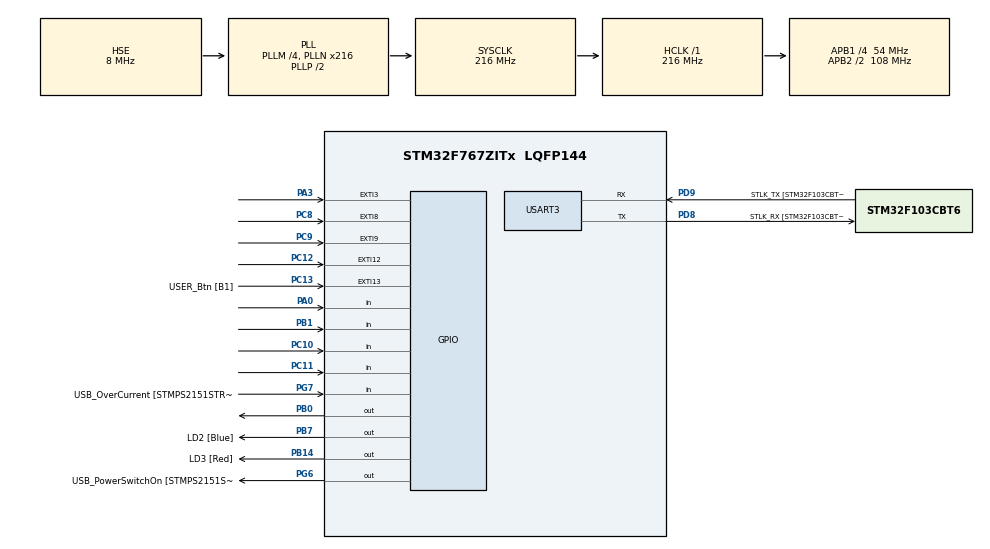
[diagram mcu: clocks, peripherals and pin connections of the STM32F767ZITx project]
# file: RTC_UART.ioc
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Mcu.Family=STM32F7
Mcu.Name=STM32F767ZITx
Mcu.Package=LQFP144
NVIC.EXTI15_10_IRQn=true\:3\:0\:true\:false\:true\:true\:true
NVIC.EXTI3_IRQn=true\:2\:0\:true\:false\:true\:true\:true
NVIC.EXTI9_5_IRQn=true\:2\:1\:true\:false\:true\:true\:true
NVIC.PriorityGroup=NVIC_PRIORITYGROUP_3
NVIC.RTC_Alarm_IRQn=true\:0\:0\:true\:false\:true\:true\:true
PA0/WKUP.Signal=GPIO_Input
PA1.GPIO_Label=RMII_REF_CLK [LAN8742A-CZ-TR_REFCLK0]
PA1.Signal=ETH_REF_CLK
PA10.GPIO_Label=USB_ID
PA10.Signal=USB_OTG_FS_ID
PA11.GPIO_Label=USB_DM
PA11.Signal=USB_OTG_FS_DM
PA12.GPIO_Label=USB_DP
PA12.Signal=USB_OTG_FS_DP
PA13.GPIO_Label=TMS
PA13.Signal=SYS_JTMS-SWDIO
PA14.GPIO_Label=TCK
PA14.Signal=SYS_JTCK-SWCLK
PA2.GPIO_Label=RMII_MDIO [LAN8742A-CZ-TR_MDIO]
PA2.Signal=ETH_MDIO
PA3.Signal=GPXTI3
PA7.GPIO_Label=RMII_CRS_DV [LAN8742A-CZ-TR_CRS_DV]
PA7.Signal=ETH_CRS_DV
PA8.GPIO_Label=USB_SOF [TP1]
PA8.Signal=USB_OTG_FS_SOF
PA9.GPIO_Label=USB_VBUS
PA9.Signal=USB_OTG_FS_VBUS
PB0.Signal=GPIO_Output
PB1.Signal=GPIO_Input
PB13.GPIO_Label=RMII_TXD1 [LAN8742A-CZ-TR_TXD1]
PB13.Signal=ETH_TXD1
PB14.GPIO_Label=LD3 [Red]
PB14.Signal=GPIO_Output
PB3.GPIO_Label=SW0
PB3.Signal=SYS_JTDO-SWO
PB7.GPIO_Label=LD2 [Blue]
PB7.Signal=GPIO_Output
PC1.GPIO_Label=RMII_MDC [LAN8742A-CZ-TR_MDC]
PC1.Signal=ETH_MDC
PC10.Signal=GPIO_Input
PC11.Signal=GPIO_Input
PC12.Signal=GPXTI12
PC13.GPIO_Label=USER_Btn [B1]
PC13.Signal=GPXTI13
PC14/OSC32_IN.Mode=LSE-External-Oscillator
PC14/OSC32_IN.Signal=RCC_OSC32_IN
PC15/OSC32_OUT.Mode=LSE-External-Oscillator
PC15/OSC32_OUT.Signal=RCC_OSC32_OUT
PC4.GPIO_Label=RMII_RXD0 [LAN8742A-CZ-TR_RXD0]
PC4.Signal=ETH_RXD0
PC5.GPIO_Label=RMII_RXD1 [LAN8742A-CZ-TR_RXD1]
PC5.Signal=ETH_RXD1
PC8.Signal=GPXTI8
PC9.Signal=GPXTI9
PD8.GPIO_Label=STLK_RX [STM32F103CBT6_PA3]
PD8.Mode=Asynchronous
PD8.Signal=USART3_TX
PD9.GPIO_Label=STLK_TX [STM32F103CBT6_PA2]
PD9.Mode=Asynchronous
PD9.Signal=USART3_RX
PG11.GPIO_Label=RMII_TX_EN [LAN8742A-CZ-TR_TXEN]
PG11.Signal=ETH_TX_EN
PG13.GPIO_Label=RMII_TXD0 [LAN8742A-CZ-TR_TXD0]
PG13.Signal=ETH_TXD0
PG6.GPIO_Label=USB_PowerSwitchOn [STMPS2151STR_EN]
PG6.Signal=GPIO_Output
PG7.GPIO_Label=USB_OverCurrent [STMPS2151STR_FAULT]
PG7.Signal=GPIO_Input
PH0/OSC_IN.GPIO_Label=MCO [STM32F103CBT6_PA8]
PH0/OSC_IN.Mode=HSE-External-Clock-Source
PH0/OSC_IN.Signal=RCC_OSC_IN
PH1/OSC_OUT.Mode=HSE-External-Clock-Source
PH1/OSC_OUT.Signal=RCC_OSC_OUT
ProjectManager.HeapSize=0x200
ProjectManager.StackSize=0x400
ProjectManager.TargetToolchain=MDK-ARM V5
RCC.48MHZClocksFreq_Value=24000000
RCC.AHBFreq_Value=216000000
RCC.APB1CLKDivider=RCC_HCLK_DIV4
RCC.APB1Freq_Value=54000000
RCC.APB1TimFreq_Value=108000000
RCC.APB2CLKDivider=RCC_HCLK_DIV2
RCC.APB2Freq_Value=108000000
RCC.APB2TimFreq_Value=216000000
RCC.CortexFreq_Value=216000000
RCC.HCLKFreq_Value=216000000
RCC.HSE_VALUE=8000000
RCC.HSI_VALUE=16000000
RCC.PLLM=4
RCC.PLLMUL=RCC_PLL_MUL9
RCC.PLLN=216
RCC.PLLSourceVirtual=RCC_PLLSOURCE_HSE
RCC.PRESCALERUSB=RCC_USBCLKSOURCE_PLL_DIV1_5
RCC.PWREXT_OverDrive=PWREXT_OverDrive_ACTIVATED
RCC.PWR_Regulator_Voltage_Scale=PWR_REGULATOR_VOLTAGE_SCALE1
RCC.RTCClockSelection=RCC_RTCCLKSOURCE_LSE
RCC.SYSCLKFreq_VALUE=216000000
RCC.SYSCLKSource=RCC_SYSCLKSOURCE_PLLCLK
RCC.SYSCLKSourceVirtual=RCC_SYSCLKSOURCE_PLLCLK
RCC.USBFreq_Value=216000000
RCC.VCOOutputFreq_Value=432000000
RTC.Alarm-Alarm\ A=RTC_ALARM_A
RTC.Hours_A-Alarm\ A=10
RTC.Minutes_A-Alarm\ A=21
RTC.Month=RTC_MONTH_AUGUST
RTC.Seconds_A-Alarm\ A=30
RTC.WeekDay=RTC_WEEKDAY_THURSDAY
USART3.VirtualMode-Asynchronous=VM_ASYNC
VP_RTC_VS_RTC_Activate.Mode=RTC_Enabled
VP_RTC_VS_RTC_Alarm_A_Intern.Mode=Alarm A
VP_RTC_VS_RTC_Calendar.Mode=RTC_Calendar
board=NUCLEO-F767ZI

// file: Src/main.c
/* USER CODE BEGIN Header */
/**
  ******************************************************************************
  * @file           : main.c
  * @brief          : Main program body
  ******************************************************************************
  * @attention
  *
  * <h2><center>&copy; Copyright (c) 2019 STMicroelectronics.
  * All rights reserved.</center></h2>
  *
  * This software component is licensed by ST under BSD 3-Clause license,
  * the "License"; You may not use this file except in compliance with the
  * License. You may obtain a copy of the License at:
  *                        opensource.org/licenses/BSD-3-Clause
  *
  ******************************************************************************
  */
/* USER CODE END Header */

#include "main.h"
#include "rtc.h"
#include "usart.h"
#include "gpio.h"

/* USER CODE BEGIN Includes */
#include "string.h"
/* USER CODE END Includes */

/* USER CODE BEGIN PD */
extern RTC_HandleTypeDef hrtc;
/* USER CODE END PD */

/* USER CODE BEGIN PV */
char timebuff[15];
char datebuff[15];
char timerbuff[15];
char alarmbuff[15];

uint8_t alarm = 0;
int set = 0; // in clock
int mode = 0; // change mode
int set_timer = 0;
uint16_t setHours = 0x10;
uint16_t setMinutes = 0x20;
uint16_t setDate = 0x22;
uint16_t setMonth = RTC_MONTH_NOVEMBER;
uint16_t setYear = 0x19;
uint16_t set_alarm_Hours = 0x10;
uint16_t set_alarm_minute = 0x22;
uint8_t timer_count = 0;
uint8_t timer_minute = 0;
uint8_t timer_second = 0;
uint8_t timerdown_minute = 0;
uint8_t timerdown_second = 0;
uint8_t backup_timer_minute;
uint8_t backup_timer_second ;
/* USER CODE END PV */

void SystemClock_Config(void);
/* USER CODE BEGIN PFP */
void get_timer();
/* USER CODE END PFP */

/* USER CODE BEGIN 0 */

void set_time (void){

	RTC_TimeTypeDef sTime;
  RTC_DateTypeDef sDate;

//	setHours = 0x10;
//	setMinutes = 0x20;
//	setDate = 0x22;
//	setMonth = RTC_MONTH_NOVEMBER;
//	setYear = 0x19;
	if(mode == 1 && set == 1) {
		if(HAL_GPIO_ReadPin(GPIOC, GPIO_PIN_10) == 1) {
			setHours += 0x1;
			HAL_Delay(500);
		}
		else if(HAL_GPIO_ReadPin(GPIOC, GPIO_PIN_11) == 1) {
			setHours -= 0x1;
			HAL_Delay(500);
		}
		if(setHours > 0x23){
			setHours = 0x0;
		}
		if(setHours < 0x0) {
			setHours = 0x23;
		}
	}
	else if(mode == 1 && set == 2) {
		if(HAL_GPIO_ReadPin(GPIOC, GPIO_PIN_10) == 1) {
			setMinutes += 0x1;
			HAL_Delay(500);
		}
		else if(HAL_GPIO_ReadPin(GPIOC, GPIO_PIN_11) == 1) {
			setMinutes -= 0x1;
			HAL_Delay(500);
		}
		if(setMinutes > 0x60){
			setMinutes = 0x0;
		}
		if(setMinutes < 0x0){
			setMinutes = 0x59;
		}
	}
	if(mode == 2 && set == 1) {
		if(HAL_GPIO_ReadPin(GPIOC, GPIO_PIN_10) == 1) {
			setDate += 0x1;
			HAL_Delay(500);
		}
		else if(HAL_GPIO_ReadPin(GPIOC, GPIO_PIN_11) == 1) {
			setDate -= 0x1;
			HAL_Delay(500);
		}
		if(setDate > 0x30){
			setDate = 0x1;
			HAL_Delay(500);
		}
		if(setDate < 0x1){
			setDate = 0x30;
			HAL_Delay(500);
		}
	}
	else if(mode == 2 && set == 2) {
		if(HAL_GPIO_ReadPin(GPIOC, GPIO_PIN_10) == 1) {
				setMonth += 0x1;
				HAL_Delay(500);
			}
			else if(HAL_GPIO_ReadPin(GPIOC, GPIO_PIN_11) == 1) {
				setMonth -= 0x1;
				HAL_Delay(500);
			}
			if(setMonth > 0x12){
				setMonth = 0x1;
			}
			if(setMonth < 0x1){
				setMonth = 0x12;
			}
	}
	else if(mode == 2 && set == 3){
		if(HAL_GPIO_ReadPin(GPIOC, GPIO_PIN_10) == 1) {
			setYear += 0x1;
		}
		else if(HAL_GPIO_ReadPin(GPIOC, GPIO_PIN_11) == 1) {
			setYear -= 0x1;
		}
	}

	sTime.Hours = setHours ;
  sTime.Minutes = setMinutes;
  sTime.Seconds = 0x30;
  sTime.DayLightSaving = RTC_DAYLIGHTSAVING_NONE;
  sTime.StoreOperation = RTC_STOREOPERATION_RESET;
  if (HAL_RTC_SetTime(&hrtc, &sTime, RTC_FORMAT_BCD) != HAL_OK)
  {
    Error_Handler();
  }
  /* USER CODE BEGIN RTC_Init 3 */

  /* USER CODE END RTC_Init 3 */

  sDate.WeekDay = RTC_WEEKDAY_FRIDAY;
	sDate.Month = setMonth ;
  sDate.Date = setDate;
  sDate.Year = setYear;

  if (HAL_RTC_SetDate(&hrtc, &sDate, RTC_FORMAT_BCD) != HAL_OK)
  {
    Error_Handler();
  }

	 /* USER CODE BEGIN RTC_Init 4 */
	HAL_RTCEx_BKUPWrite(&hrtc, RTC_BKP_DR1, 0x32F2); // backup register
  /* USER CODE END RTC_Init 4 */
}

void set_alarm (void)
{
	RTC_AlarmTypeDef sAlarm;

	if(set == 1) {
		if(HAL_GPIO_ReadPin(GPIOC, GPIO_PIN_10) == 1) {
			set_alarm_Hours += 0x1;
			HAL_Delay(500);
		}
		else if(HAL_GPIO_ReadPin(GPIOC, GPIO_PIN_11) == 1) {
			set_alarm_Hours -= 0x1;
			HAL_Delay(500);
		}
		if(set_alarm_Hours > 0x23){
			set_alarm_Hours = 0x0;
		}
		if(set_alarm_Hours < 0x0) {
			set_alarm_Hours = 0x23;
		}
	}
	else if(set == 2) {
		if(HAL_GPIO_ReadPin(GPIOC, GPIO_PIN_10) == 1) {
			set_alarm_minute += 0x1;
			HAL_Delay(500);
		}
		else if(HAL_GPIO_ReadPin(GPIOC, GPIO_PIN_11) == 1) {
			set_alarm_minute -= 0x1;
			HAL_Delay(500);
		}
		if(set_alarm_minute > 0x59){
			set_alarm_minute = 0x0;
		}
		if(set_alarm_minute < 0x0){
			set_alarm_minute = 0x59;
		}
	}

	sAlarm.AlarmTime.Hours = set_alarm_Hours;
  sAlarm.AlarmTime.Minutes = set_alarm_minute;
  sAlarm.AlarmTime.Seconds = 0x00;
  sAlarm.AlarmTime.SubSeconds = 0x0;
  sAlarm.AlarmTime.DayLightSaving = RTC_DAYLIGHTSAVING_NONE;
  sAlarm.AlarmTime.StoreOperation = RTC_STOREOPERATION_RESET;
  sAlarm.AlarmMask = RTC_ALARMMASK_NONE;
  sAlarm.AlarmSubSecondMask = RTC_ALARMSUBSECONDMASK_ALL;
  sAlarm.AlarmDateWeekDaySel = RTC_ALARMDATEWEEKDAYSEL_DATE;
  sAlarm.AlarmDateWeekDay = setDate;
  sAlarm.Alarm = RTC_ALARM_A;
  if (HAL_RTC_SetAlarm_IT(&hrtc, &sAlarm, RTC_FORMAT_BCD) != HAL_OK)
  {
    Error_Handler();
  }

  /* USER CODE BEGIN RTC_Init 5 */

  /* USER CODE END RTC_Init 5 */
}

void timer_up (void) {
	if(timer_count % 1000){
		timer_second += 1 ;
		if(timer_second%60 == 0) {
			timer_second = 0;
			timer_minute +=1;
		}
	}
	backup_timer_minute = timer_minute;
	backup_timer_second = timer_second;

}

void timer_down (void) {

	if(timer_count % 1000){
		timer_second -= 1 ;
		if(timer_second%60 == 0) {
			if(timer_minute ==0 && timer_second == 0){
				timer_minute = 0;
				timer_second =0;
				backup_timer_minute = timer_minute;
				backup_timer_second = timer_second;
				set = 4;
			}
			timer_second = 59;
			timer_minute -=1;
		}
	}
	backup_timer_minute = timer_minute;
	backup_timer_second = timer_second;
}

void checkstate_timer (void) {

	if(mode == 3 && set == 1){
		if(HAL_GPIO_ReadPin(GPIOC, GPIO_PIN_10) == GPIO_PIN_SET ) {
			timer_minute += 1;
		}
		else if (HAL_GPIO_ReadPin(GPIOC, GPIO_PIN_11) == GPIO_PIN_SET ) {
			timer_minute -=1;
		}
		if(timer_minute > 59) {
			timer_minute = 0;
		}
		if(timer_minute <0 ) {
			timer_minute = 59;
		}
		get_timer();
	}
	else if(mode == 3 && set==2){
		if(HAL_GPIO_ReadPin(GPIOC, GPIO_PIN_10) == GPIO_PIN_SET ) {
			timer_second += 1;
		}
		else if (HAL_GPIO_ReadPin(GPIOC, GPIO_PIN_11) == GPIO_PIN_SET ) {
			timer_second -=1;
		}
		if(timer_second > 59) {
			timer_second = 0;
		}
		if(timer_second <0 ) {
			timer_second = 59;
		}
		get_timer();
	}
	else if (mode == 3 && set==3) {
		if(timer_minute == 0 && timer_second == 0)
		{
			timer_count = 0;
			while(set==3) {
				timer_up();
				get_timer();
			}
		} else {
			timer_count = 0;
			while(set==3){
				timer_down();
				get_timer();
			}
		}
	}
	else if (mode == 3 && set == 4) {
		timer_count = 0;
		sprintf(timerbuff, "%02d : %02d\n\r" , backup_timer_minute, backup_timer_second);
		HAL_UART_Transmit(&huart3, (uint8_t*) timerbuff ,strlen(timerbuff),1000);
		HAL_Delay(1000);
	}
	get_timer();
}

void get_timer(void) {
	sprintf(timerbuff, "%02d : %02d\r" , timer_minute, timer_second);
	HAL_UART_Transmit(&huart3, (uint8_t*) timerbuff ,strlen(timerbuff),1000);
	HAL_Delay(1000);
	HAL_UART_Transmit(&huart3, (uint8_t*) '\r' ,2,1000);
}

// current value
void get_time(void)
{

	RTC_DateTypeDef gDate;
	RTC_TimeTypeDef gTime;
	// get RTC current time
	HAL_RTC_GetTime(&hrtc, &gTime, RTC_FORMAT_BIN);
	// get RTC current Date
	HAL_RTC_GetDate(&hrtc, &gDate, RTC_FORMAT_BIN);
	// format hh:mm:ss
	sprintf(timebuff, "%02d:%02d:%02d\n\r", gTime.Hours , gTime.Minutes, gTime.Seconds);
	// format dd - mm - yy
	sprintf(datebuff, "%02d-%02d-%2d\n\r", gDate.Date , gDate.Month, 2000 + gDate.Year);
}

void HAL_RTC_AlarmAEventCallback(RTC_HandleTypeDef *hrtc) {

	alarm = 1;
}

void to_do_alarm (void) {
	while(HAL_GPIO_ReadPin(GPIOA, GPIO_PIN_3) == 0)
	{
		char str[] = "ALARM!!!";
		HAL_GPIO_WritePin(GPIOB, GPIO_PIN_0, 1);
		while(__HAL_UART_GET_FLAG(&huart3, UART_FLAG_TC)==RESET) {}
		HAL_UART_Transmit(&huart3, (uint8_t*) str ,strlen(str),1000);
		HAL_Delay(1000);

	}
	HAL_GPIO_WritePin(GPIOB, GPIO_PIN_0, 0);
	alarm = 0;

}
/* USER CODE END 0 */

int main(void)
{

  /* MCU Configuration--------------------------------------------------------*/

  /* Reset of all peripherals, Initializes the Flash interface and the Systick. */
  HAL_Init();

  /* Configure the system clock */
  SystemClock_Config();

  /* Initialize all configured peripherals */
  MX_GPIO_Init();
  MX_RTC_Init();
  MX_USART3_UART_Init();
  /* USER CODE BEGIN 2 */

	// back up register time not reset
	if(HAL_RTCEx_BKUPRead(&hrtc, RTC_BKP_DR1) != 0x32F2)
	{
		set_time();
	}
//	set_time();
	set_alarm();
	char setbuff[5];
  /* USER CODE END 2 */

  /* Infinite loop */
  /* USER CODE BEGIN WHILE */
  while (1)
  {

		while(alarm == 1)
		{
			to_do_alarm();
		}

		if ( mode == 0 ) {
			get_time();
			while(__HAL_UART_GET_FLAG(&huart3, UART_FLAG_TC)==RESET) {}
			HAL_UART_Transmit(&huart3, (uint8_t*) timebuff ,strlen(timebuff),1000);
			HAL_Delay(1000);
		}

		else if (mode == 1) {
			get_time();
			while(__HAL_UART_GET_FLAG(&huart3, UART_FLAG_TC)==RESET) {}
			HAL_UART_Transmit(&huart3, (uint8_t*) timebuff ,strlen(timebuff),1000);
			set_time();
			HAL_Delay(1000);
		}
		else if (mode == 2){
			get_time();
			HAL_UART_Transmit(&huart3, (uint8_t*) datebuff ,strlen(datebuff),1000);
			if(set>0)
			{set_time();}

		}
		else if(mode == 3) {
			checkstate_timer();
		} else if(mode == 4) {
			mode = 0;

		}

    /* USER CODE END WHILE */

  }
}

void SystemClock_Config(void)
{
  RCC_OscInitTypeDef RCC_OscInitStruct = {0};
  RCC_ClkInitTypeDef RCC_ClkInitStruct = {0};
  RCC_PeriphCLKInitTypeDef PeriphClkInitStruct = {0};

  /** Configure LSE Drive Capability
  */
  HAL_PWR_EnableBkUpAccess();
  __HAL_RCC_LSEDRIVE_CONFIG(RCC_LSEDRIVE_LOW);
  /** Configure the main internal regulator output voltage
  */
  __HAL_RCC_PWR_CLK_ENABLE();
  __HAL_PWR_VOLTAGESCALING_CONFIG(PWR_REGULATOR_VOLTAGE_SCALE1);
  /** Initializes the CPU, AHB and APB busses clocks
  */
  RCC_OscInitStruct.OscillatorType = RCC_OSCILLATORTYPE_HSE|RCC_OSCILLATORTYPE_LSE;
  RCC_OscInitStruct.HSEState = RCC_HSE_BYPASS;
  RCC_OscInitStruct.LSEState = RCC_LSE_ON;
  RCC_OscInitStruct.PLL.PLLState = RCC_PLL_ON;
  RCC_OscInitStruct.PLL.PLLSource = RCC_PLLSOURCE_HSE;
  RCC_OscInitStruct.PLL.PLLM = 4;
  RCC_OscInitStruct.PLL.PLLN = 216;
  RCC_OscInitStruct.PLL.PLLP = RCC_PLLP_DIV2;
  RCC_OscInitStruct.PLL.PLLQ = 2;
  if (HAL_RCC_OscConfig(&RCC_OscInitStruct) != HAL_OK)
  {
    Error_Handler();
  }
  /** Activate the Over-Drive mode
  */
  if (HAL_PWREx_EnableOverDrive() != HAL_OK)
  {
    Error_Handler();
  }
  /** Initializes the CPU, AHB and APB busses clocks
  */
  RCC_ClkInitStruct.ClockType = RCC_CLOCKTYPE_HCLK|RCC_CLOCKTYPE_SYSCLK
                              |RCC_CLOCKTYPE_PCLK1|RCC_CLOCKTYPE_PCLK2;
  RCC_ClkInitStruct.SYSCLKSource = RCC_SYSCLKSOURCE_PLLCLK;
  RCC_ClkInitStruct.AHBCLKDivider = RCC_SYSCLK_DIV1;
  RCC_ClkInitStruct.APB1CLKDivider = RCC_HCLK_DIV4;
  RCC_ClkInitStruct.APB2CLKDivider = RCC_HCLK_DIV2;

  if (HAL_RCC_ClockConfig(&RCC_ClkInitStruct, FLASH_LATENCY_7) != HAL_OK)
  {
    Error_Handler();
  }
  PeriphClkInitStruct.PeriphClockSelection = RCC_PERIPHCLK_RTC|RCC_PERIPHCLK_USART3;
  PeriphClkInitStruct.RTCClockSelection = RCC_RTCCLKSOURCE_LSE;
  PeriphClkInitStruct.Usart3ClockSelection = RCC_USART3CLKSOURCE_PCLK1;
  if (HAL_RCCEx_PeriphCLKConfig(&PeriphClkInitStruct) != HAL_OK)
  {
    Error_Handler();
  }
}

/* USER CODE BEGIN 4 */
void HAL_GPIO_EXTI_Callback(uint16_t GPIO_Pin)
{

	// mode
	if(GPIO_Pin == GPIO_PIN_3)
	{
		HAL_Delay(200);
		set = 0; // clear set init --> 0
		mode +=1;
		if (mode > 4 ) {
			mode = 0;
		}
	}
	// set in function
	if(GPIO_Pin == GPIO_PIN_9)
	{
		HAL_Delay(200);
		set +=1;
		if( mode == 1 ) {	// set_time
			if(set > 2 ){
				set = 0;
			}
		}
		else if(mode == 2) {	// set_date
			if(set>3){
				set = 0;
			}
		}
		else if(mode == 3) {	// timer
			if(set >4) {
				set = 0;
			}
		}
		else if(mode == 4) {	// alarm
			if (set>2){
				set = 0;
			}
		}
	}
}
/* USER CODE END 4 */

void Error_Handler(void)
{
}

/************************ (C) COPYRIGHT STMicroelectronics *****END OF FILE****/
